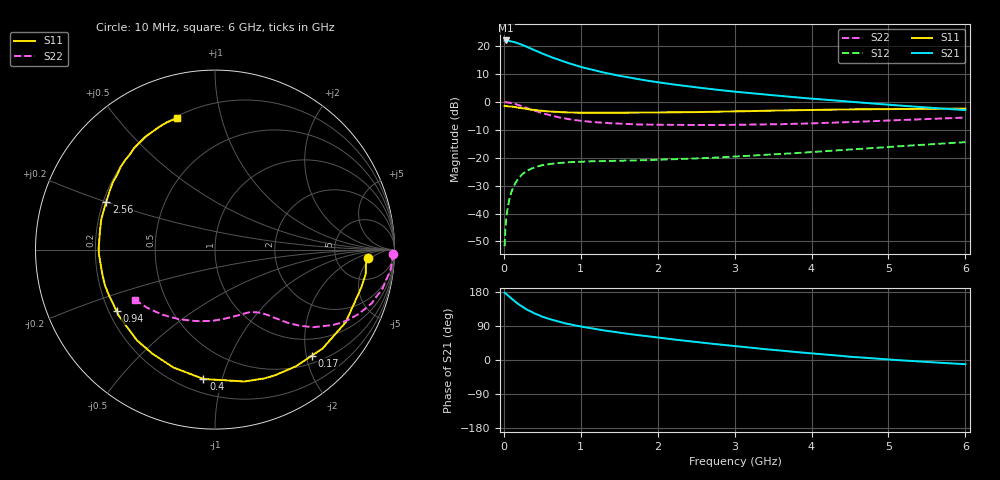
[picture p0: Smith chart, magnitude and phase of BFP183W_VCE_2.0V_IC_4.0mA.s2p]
! Infineon Technologies  Discrete & RF Semiconductors
! BFP183W
! VCE = 2.0 V,  IC =  4.0 mA
! Common Emitter S-Parameters:  Jan 2016
# GHz  S  MA  R  50
!  f  S11  S21  S12  S22
! GHz  MAG  ANG  MAG  ANG  MAG  ANG  MAG  ANG
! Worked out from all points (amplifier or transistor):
!   210 points, 10 MHz to 6 GHz, reference 50 ohm
!   highest |S21| = 22.1 dB at 30 MHz (marker M1)
!   |S21| within 3 dB of that: start of sweep to 356.4 MHz
!   unconditionally stable (mu >= 1): 1.898 GHz to 5.912 GHz
!   at 185 MHz: K = 0.13, MSG = 24.4 dB, |S12| = -27.6 dB
!   at 1.52 GHz: K = 0.85, MSG = 15.2 dB, |S12| = -21.1 dB
!   at 6 GHz: K = 0.99, MSG = 5.8 dB, |S12| = -14.4 dB
!   S11 on the Smith chart (normalised r, x): 10 MHz: 11, -4; 170 MHz: 0.64, -2.11; 400 MHz: 0.29, -0.87; 940 MHz: 0.23, -0.27; 2.56 GHz: 0.21, +0.20; 6 GHz: 0.21, +0.73
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0.01  0.8509 -3.1  12.63 177.5  0.0026 93.4  0.9939 -1.3
0.03  0.8506 -9.1  12.72 174.7  0.0078 85.4  0.9893 -4.0
0.1  0.8332 -29.1  12.26 162.2  0.0248 74.0  0.9587 -13.0
0.15  0.8143 -42.6  11.79 153.6  0.0353 67.5  0.922 -19.0
0.17  0.8002 -47.6  11.5 150.6  0.0388 64.7  0.9034 -21.0
0.2  0.7911 -55.4  11.13 145.9  0.0442 61.3  0.8777 -24.1
0.3  0.7527 -77.5  9.756 132.9  0.0584 51.2  0.7826 -32.4
0.4  0.7238 -95.1  8.489 122.7  0.0675 43.4  0.6992 -38.2
0.5  0.6964 -109.5  7.41 114.2  0.0739 38.3  0.6321 -42.1
0.6  0.6766 -121.1  6.513 107.5  0.0775 34.2  0.5781 -45.0
0.7  0.6668 -130.7  5.813 101.8  0.0804 31.4  0.5374 -47.0
0.8  0.6531 -138.8  5.187 96.7  0.0824 29.0  0.5046 -48.9
0.94  0.6464 -148.1  4.525 90.9  0.0843 26.9  0.4717 -50.9
1.02  0.6426 -152.6  4.201 87.8  0.085 26.0  0.4575 -52.0
1.2  0.6445 -161.9  3.633 81.4  0.0869 24.4  0.4335 -54.5
1.46  0.6424 -172.4  3.041 73.5  0.0881 24.0  0.4114 -57.9
2.02  0.6502 169.8  2.247 58.7  0.0923 25.8  0.391 -66.2
2.56  0.6619 156.3  1.794 46.2  0.0981 28.8  0.3875 -75.7
3.1  0.6834 144.6  1.491 34.8  0.1071 31.6  0.3911 -86.3
4.1  0.7257 127.1  1.124 15.9  0.1298 34.7  0.4176 -108.7
5.1  0.7512 114.3  0.874 -0.0  0.1596 34.3  0.4716 -131.1
6  0.7618 106.0  0.718 -11.2  0.1909 32.0  0.5261 -147.7
